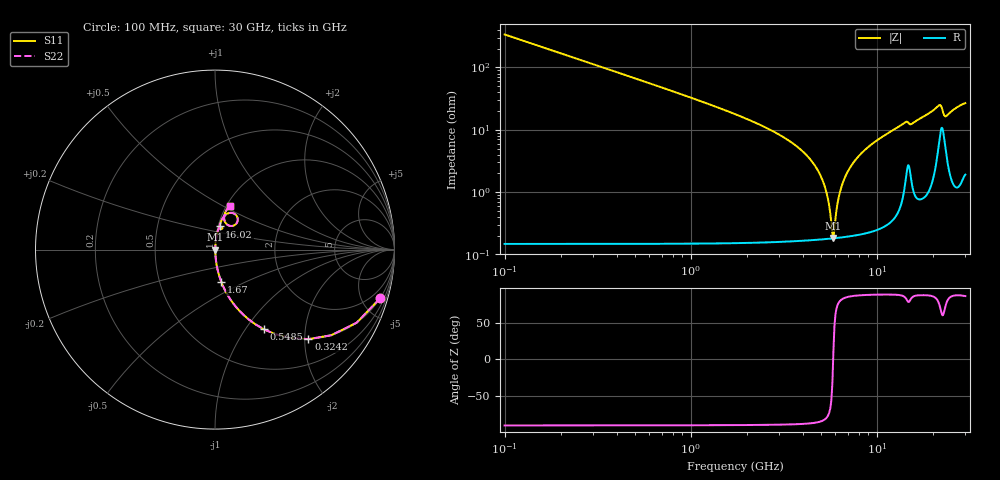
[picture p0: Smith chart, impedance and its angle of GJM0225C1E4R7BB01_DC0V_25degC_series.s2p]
!Murata Part Number: GJM0225C1E4R7BB01
!These Parameters are Measured in Series Mode Connection
!  o--ll--o
!Port1  Port2
!  o------o
!Operation Temp=25[degC], DC Bias Voltage=0[V]
!Freq. Start=100[MHz] Stop=30[GHz], 401[Steps]
!Data Generated on Feb 1, 2023
# Hz S RI R 50
!Freq.(Hz) S11(Real) S11(Imag) S21(Real) S21(Imag) S12(Real) S12(Imag) S22(Real) S22(Imag)
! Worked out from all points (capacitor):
!   401 points, 100 MHz to 30 GHz, reference 50 ohm
!   read as one part in series: C = 4.7 pF near 249.5 MHz
!   lowest |Z| = 184 mohm at 5.856 GHz (marker M1)
!   series resonance near 5.839 GHz, so ESL is about 160 pH
!   S11 on the Smith chart (normalised r, x): 100 MHz: 1.00, -6.77; 324.2 MHz: 1.00, -2.08; 548.5 MHz: 1.00, -1.22; 1.67 GHz: 1.00, -0.37; 16.02 GHz: 1.02, +0.27; 30 GHz: 1.04, +0.54
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1e8  0.9196 -0.2716  0.0804 0.2716  0.0804 0.2716  0.9196 -0.2716
3.2425e8  0.5201 -0.4989  0.4799 0.4989  0.4799 0.4989  0.5201 -0.4989
5.485e8  0.2729 -0.4443  0.7271 0.4443  0.7271 0.4443  0.2729 -0.4443
9.2225e8  0.1146 -0.3165  0.8854 0.3165  0.8854 0.3165  0.1146 -0.3165
1.66975e9  0.0349 -0.1795  0.9651 0.1795  0.9651 0.1795  0.0349 -0.1795
4.1365e9  0.00332 -0.0407  0.9967 0.0407  0.9967 0.0407  0.00332 -0.0407
5.10825e9  0.00198 -0.0156  0.998 0.0156  0.998 0.0156  0.00198 -0.0156
5.40725e9  0.00184 -0.00893  0.9982 0.00893  0.9982 0.00893  0.00184 -0.00893
5.70625e9  0.0018 -0.00268  0.9982 0.00268  0.9982 0.00268  0.0018 -0.00268
5.85575e9  0.0018 0.000328  0.9982 -0.000328  0.9982 -0.000328  0.0018 0.000328
6.379e9  0.00196 0.0103  0.998 -0.0103  0.998 -0.0103  0.00196 0.0103
7.05175e9  0.00242 0.0221  0.9976 -0.0221  0.9976 -0.0221  0.00242 0.0221
8.24775e9  0.00379 0.0411  0.9962 -0.0411  0.9962 -0.0411  0.00379 0.0411
1.01165e10  0.00712 0.0679  0.9929 -0.0679  0.9929 -0.0679  0.00712 0.0679
1.4153e10  0.0279 0.1245  0.9721 -0.1245  0.9721 -0.1245  0.0279 0.1245
1.505e10  0.036 0.1141  0.964 -0.1141  0.964 -0.1141  0.036 0.1141
1.602175e10  0.026 0.1293  0.974 -0.1293  0.974 -0.1293  0.026 0.1293
2.005825e10  0.0532 0.1888  0.9468 -0.1888  0.9468 -0.1888  0.0532 0.1888
2.185225e10  0.1142 0.1953  0.8858 -0.1953  0.8858 -0.1953  0.1142 0.1953
2.334725e10  0.0722 0.1363  0.9278 -0.1363  0.9278 -0.1363  0.0722 0.1363
2.50665e10  0.0509 0.1808  0.9491 -0.1808  0.9491 -0.1808  0.0509 0.1808
3e10  0.0821 0.2411  0.9179 -0.2411  0.9179 -0.2411  0.0821 0.2411
